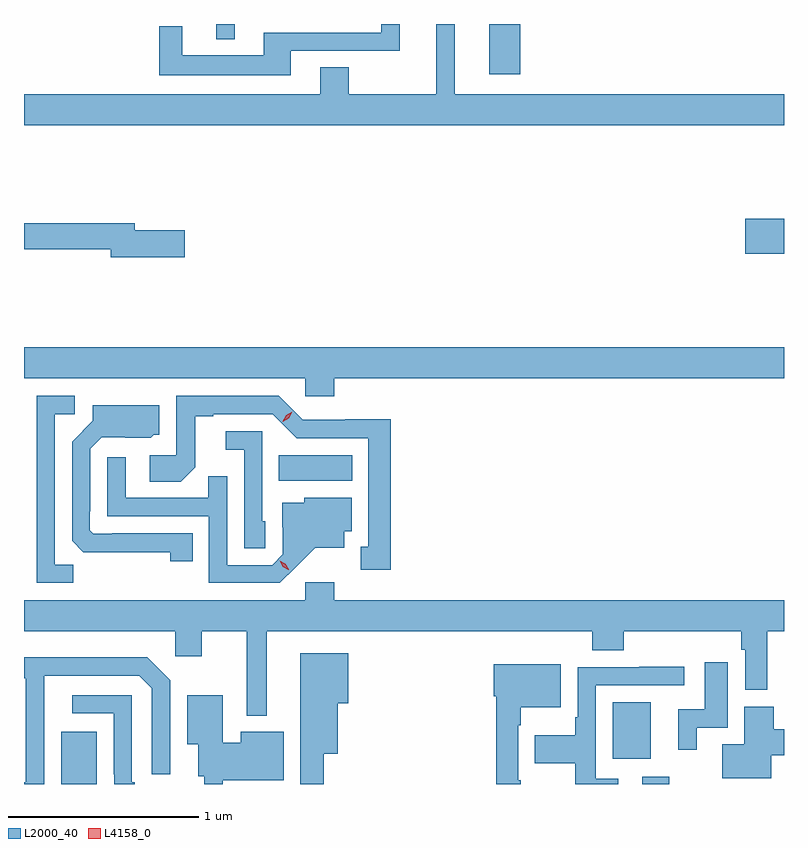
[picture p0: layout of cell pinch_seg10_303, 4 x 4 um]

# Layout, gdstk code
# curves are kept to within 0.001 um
import gdstk
lib = gdstk.Library(unit=1e-6, precision=1e-09)
def R(c, l, rs):  # rectangles x0, y0, x1, y1
    for r in rs: c.add(gdstk.rectangle(r[:2], r[2:], *l))
def P(c, l, *ps):  # polygons
    for p in ps: c.add(gdstk.Polygon(p, *l))
L2000_40 = (2000, 40)
L4158_0 = (4158, 0)

pinch_seg10_303 = lib.new_cell('pinch_seg10_303')
R(pinch_seg10_303, L2000_40, [(394.853,1288.857,395.041,1289.131), (397.913,1288.857,398.053,1288.894), (397.757,1288.991,397.957,1289.287), (395.998,1290.452,396.385,1290.586), (398.454,1291.649,398.658,1291.832), (397.106,1292.592,397.27,1292.857), (395.669,1292.777,395.767,1292.857)])
P(pinch_seg10_303, L2000_40, [(398.658,1292.488),(396.926,1292.488),(396.926,1292.857),(396.827,1292.857),(396.827,1292.488),(396.366,1292.488),(396.366,1292.63),(396.218,1292.63),(396.218,1292.488),(394.658,1292.488),(394.658,1292.324),(398.658,1292.324)],
  [(396.061,1292.715),(396.635,1292.715),(396.635,1292.857),(396.537,1292.857),(396.537,1292.811),(395.921,1292.811),(395.921,1292.692),(395.491,1292.692),(395.491,1292.845),(395.37,1292.845),(395.37,1292.588),(396.061,1292.588)],
  [(395.503,1291.772),(395.242,1291.772),(395.242,1291.808),(394.658,1291.808),(394.658,1291.672),(395.114,1291.672),(395.114,1291.63),(395.503,1291.63)],
  [(396.29,1290.992),(398.658,1290.992),(398.658,1291.156),(394.658,1291.156),(394.658,1290.992),(396.138,1290.992),(396.138,1290.899),(396.29,1290.899)],
  [(396.589,1290.776),(396.348,1290.776),(396.348,1290.774),(396.126,1290.774),(396,1290.9),(395.46,1290.9),(395.46,1290.588),(395.319,1290.588),(395.319,1290.448),(395.483,1290.448),(395.559,1290.524),(395.559,1290.792),(395.653,1290.792),(395.653,1290.804),(395.967,1290.804),(396.093,1290.678),(396.47,1290.678),(396.47,1290.105),(396.431,1290.105),(396.431,1289.985),(396.589,1289.985)],
  [(394.917,1290.011),(394.821,1290.011),(394.821,1290.804),(394.924,1290.804),(394.924,1290.9),(394.725,1290.9),(394.725,1289.916),(394.917,1289.916)],
  [(395.546,1290.177),(395.122,1290.177),(395.122,1290.174),(395.022,1290.174),(395.004,1290.192),(395.004,1290.292),(395.007,1290.292),(395.007,1290.621),(395.067,1290.681),(395.324,1290.68),(395.34,1290.696),(395.371,1290.696),(395.371,1290.85),(395.021,1290.85),(395.021,1290.768),(394.911,1290.658),(394.911,1290.136),(394.97,1290.077),(395.428,1290.076),(395.428,1290.03),(395.546,1290.03)],
  [(395.928,1290.24),(395.913,1290.24),(395.913,1290.714),(395.721,1290.714),(395.721,1290.617),(395.817,1290.617),(395.817,1290.097),(395.928,1290.097)],
  [(396.088,1289.999),(396.191,1290.101),(396.343,1290.101),(396.343,1290.188),(396.382,1290.188),(396.382,1290.364),(396.132,1290.364),(396.132,1290.337),(396.017,1290.337),(396.017,1290.208),(396.021,1290.208),(396.021,1290.066),(395.964,1290.009),(395.727,1290.009),(395.727,1290.476),(395.629,1290.476),(395.629,1290.363),(395.193,1290.363),(395.193,1290.577),(395.097,1290.577),(395.097,1290.267),(395.631,1290.267),(395.631,1289.916),(396.004,1289.916)],
  [(395.935,1289.66),(397.649,1289.66),(397.649,1289.561),(397.814,1289.561),(397.814,1289.66),(398.434,1289.66),(398.434,1289.564),(398.454,1289.564),(398.454,1289.352),(398.57,1289.352),(398.57,1289.66),(398.658,1289.66),(398.658,1289.824),(396.29,1289.824),(396.29,1289.92),(396.138,1289.92),(396.138,1289.824),(394.658,1289.824),(394.658,1289.66),(395.454,1289.66),(395.454,1289.529),(395.593,1289.529),(395.593,1289.66),(395.831,1289.66),(395.831,1289.216),(395.935,1289.216)],
  [(396.235,1289.015),(396.31,1289.015),(396.31,1289.282),(396.364,1289.282),(396.364,1289.545),(396.113,1289.545),(396.113,1288.857),(396.235,1288.857)],
  [(394.764,1289.227),(394.765,1289.427),(395.265,1289.427),(395.331,1289.361),(395.331,1288.908),(395.427,1288.908),(395.427,1289.403),(395.306,1289.524),(394.658,1289.524),(394.658,1289.414),(394.668,1289.414),(394.668,1288.866),(394.658,1288.866),(394.658,1288.857),(394.764,1288.857)],
  [(398.2,1289.154),(398.362,1289.154),(398.362,1289.497),(398.24,1289.497),(398.24,1289.25),(398.102,1289.25),(398.102,1289.037),(398.2,1289.037)],
  [(397.273,1288.877),(397.26,1288.877),(397.26,1289.165),(397.273,1289.165),(397.273,1289.261),(397.483,1289.261),(397.483,1289.488),(397.13,1289.488),(397.13,1289.318),(397.144,1289.318),(397.144,1288.857),(397.273,1288.857)],
  [(397.786,1288.884),(397.668,1288.884),(397.668,1289.376),(398.134,1289.376),(398.134,1289.474),(397.897,1289.474),(397.897,1289.472),(397.572,1289.472),(397.572,1289.209),(397.56,1289.209),(397.56,1289.113),(397.345,1289.113),(397.345,1288.966),(397.56,1288.966),(397.56,1288.857),(397.786,1288.857)],
  [(395.241,1288.867),(395.226,1288.867),(395.226,1289.325),(394.911,1289.325),(394.911,1289.229),(395.13,1289.229),(395.13,1288.909),(395.133,1288.909),(395.133,1288.857),(395.241,1288.857)],
  [(395.703,1288.877),(396.025,1288.877),(396.025,1289.131),(395.798,1289.131),(395.798,1289.074),(395.704,1289.074),(395.704,1289.323),(395.516,1289.323),(395.516,1289.066),(395.576,1289.066),(395.576,1288.899),(395.606,1288.899),(395.606,1288.857),(395.703,1288.857)],
  [(398.59,1289.008),(398.658,1289.008),(398.658,1289.144),(398.603,1289.144),(398.603,1289.263),(398.45,1289.263),(398.45,1289.065),(398.333,1289.065),(398.333,1288.886),(398.59,1288.886)])
P(pinch_seg10_303, L4158_0, [(396.02,1290.764),(396.02,1290.765),(396.038,1290.797),(396.069,1290.816),(396.07,1290.816),(396.07,1290.815),(396.052,1290.783),(396.02,1290.764)],
  [(396.05,1289.985),(396.02,1290.001),(396.003,1290.031),(396.003,1290.032),(396.003,1290.032),(396.034,1290.016),(396.051,1289.986),(396.051,1289.985)])

lib.write_gds('pinch_seg10_303.gds')
